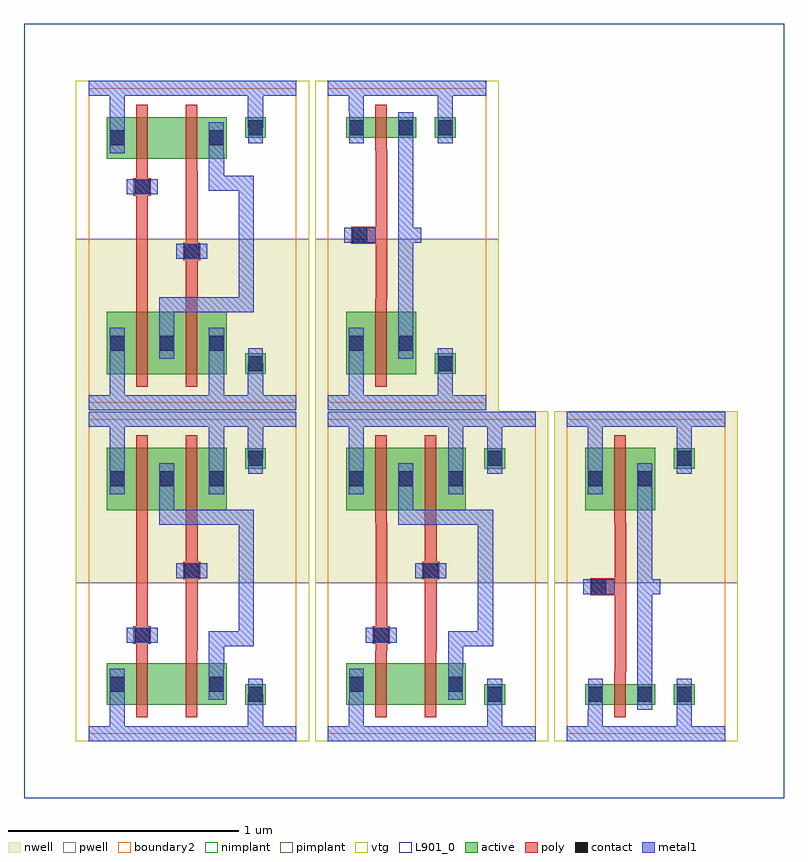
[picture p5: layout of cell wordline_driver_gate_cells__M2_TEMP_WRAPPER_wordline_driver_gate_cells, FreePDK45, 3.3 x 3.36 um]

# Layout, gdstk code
import gdstk
lib = gdstk.Library(unit=1e-6, precision=1e-09)
def R(c, l, rs):  # rectangles x0, y0, x1, y1
    for r in rs: c.add(gdstk.rectangle(r[:2], r[2:], *l))
active = (1, 0)
pwell = (2, 0)
nwell = (3, 0)
nimplant = (4, 0)
pimplant = (5, 0)
vtg = (6, 0)
poly = (9, 0)
contact = (10, 0)
metal1 = (11, 0)
boundary2 = (239, 0)
L901_0 = (901, 0)

wordline_driver_gate_cel = lib.new_cell('wordline_driver_gate_cells__wordline_driver_gate_cells__sram_1rw_32x16_freepdk45_contact_11')
R(wordline_driver_gate_cel, active, [(0,0.022,0.09,0.112)])
R(wordline_driver_gate_cel, nwell, [(-0.055,-0.033,0.145,0.168)])
R(wordline_driver_gate_cel, pimplant, [(0,0.022,0.09,0.112)])
R(wordline_driver_gate_cel, contact, [(0.013,0.035,0.077,0.1)])
R(wordline_driver_gate_cel, metal1, [(0.013,0,0.077,0.135)])
R(wordline_driver_gate_cel, boundary2, [(-0.055,-0.033,0.145,0.168)])

c_wordline_driver_gate_cel = lib.new_cell('wordline_driver_gate_cells__wordline_driver_gate_cells__sram_1rw_32x16_freepdk45_pmos_m1_w0_270_sm1_dm1')
R(c_wordline_driver_gate_cel, active, [(0,0,0.305,0.27)])
R(c_wordline_driver_gate_cel, nwell, [(-0.08,-0.08,0.385,0.35)])
R(c_wordline_driver_gate_cel, pimplant, [(0,0,0.305,0.27)])
R(c_wordline_driver_gate_cel, vtg, [(-0.08,-0.08,0.385,0.35)])
R(c_wordline_driver_gate_cel, poly, [(0.127,-0.055,0.177,0.325), (0.127,-0.055,0.177,0.325)])
R(c_wordline_driver_gate_cel, metal1, [(0.013,0.068,0.077,0.203), (0.227,0.068,0.292,0.203)])
R(c_wordline_driver_gate_cel, boundary2, [(-0.08,-0.08,0.385,0.35)])
c_wordline_driver_gate_cel.add(gdstk.Reference(wordline_driver_gate_cel, (0,0.068)))
c_wordline_driver_gate_cel.add(gdstk.Reference(wordline_driver_gate_cel, (0.215,0.068)))
c_wordline_driver_gate_cel.add(gdstk.Label('G', (0.152,0.135), layer=9, texttype=0))
c_wordline_driver_gate_cel.add(gdstk.Label('S', (0.045,0.135), layer=11, texttype=0))
c_wordline_driver_gate_cel.add(gdstk.Label('D', (0.26,0.135), layer=11, texttype=0))

c_wordline_driver_gate_cel_ = lib.new_cell('wordline_driver_gate_cells__wordline_driver_gate_cells__sram_1rw_32x16_freepdk45_contact_10')
R(c_wordline_driver_gate_cel_, active, [(0,0.022,0.09,0.112)])
R(c_wordline_driver_gate_cel_, pwell, [(-0.055,-0.033,0.145,0.168)])
R(c_wordline_driver_gate_cel_, nimplant, [(0,0.022,0.09,0.112)])
R(c_wordline_driver_gate_cel_, contact, [(0.013,0.035,0.077,0.1)])
R(c_wordline_driver_gate_cel_, metal1, [(0.013,0,0.077,0.135)])
R(c_wordline_driver_gate_cel_, boundary2, [(-0.055,-0.033,0.145,0.168)])

c_wordline_driver_gate_cel__ = lib.new_cell('wordline_driver_gate_cells__wordline_driver_gate_cells__sram_1rw_32x16_freepdk45_nmos_m1_w0_180_sm1_dactive')
R(c_wordline_driver_gate_cel__, active, [(0,0,0.305,0.18), (0.215,0.045,0.305,0.135)])
R(c_wordline_driver_gate_cel__, pwell, [(-0.08,-0.08,0.385,0.26)])
R(c_wordline_driver_gate_cel__, nimplant, [(0,0,0.305,0.18)])
R(c_wordline_driver_gate_cel__, vtg, [(-0.08,-0.08,0.385,0.26)])
R(c_wordline_driver_gate_cel__, poly, [(0.127,-0.055,0.177,0.235), (0.127,-0.055,0.177,0.235)])
R(c_wordline_driver_gate_cel__, metal1, [(0.013,0.022,0.077,0.157)])
R(c_wordline_driver_gate_cel__, boundary2, [(-0.08,-0.08,0.385,0.26)])
c_wordline_driver_gate_cel__.add(gdstk.Reference(c_wordline_driver_gate_cel_, (0,0.022)))
c_wordline_driver_gate_cel__.add(gdstk.Label('G', (0.152,0.09), layer=9, texttype=0))
c_wordline_driver_gate_cel__.add(gdstk.Label('S', (0.045,0.09), layer=11, texttype=0))
c_wordline_driver_gate_cel__.add(gdstk.Label('D', (0.26,0.09), layer=1, texttype=0))

c_wordline_driver_gate_cel___ = lib.new_cell('wordline_driver_gate_cells__wordline_driver_gate_cells__sram_1rw_32x16_freepdk45_nmos_m1_w0_180_sactive_dm1')
R(c_wordline_driver_gate_cel___, active, [(0,0,0.305,0.18), (0,0.045,0.09,0.135)])
R(c_wordline_driver_gate_cel___, pwell, [(-0.08,-0.08,0.385,0.26)])
R(c_wordline_driver_gate_cel___, nimplant, [(0,0,0.305,0.18)])
R(c_wordline_driver_gate_cel___, vtg, [(-0.08,-0.08,0.385,0.26)])
R(c_wordline_driver_gate_cel___, poly, [(0.127,-0.055,0.177,0.235), (0.127,-0.055,0.177,0.235)])
R(c_wordline_driver_gate_cel___, metal1, [(0.227,0.022,0.292,0.157)])
R(c_wordline_driver_gate_cel___, boundary2, [(-0.08,-0.08,0.385,0.26)])
c_wordline_driver_gate_cel___.add(gdstk.Reference(c_wordline_driver_gate_cel_, (0.215,0.022)))
c_wordline_driver_gate_cel___.add(gdstk.Label('G', (0.152,0.09), layer=9, texttype=0))
c_wordline_driver_gate_cel___.add(gdstk.Label('S', (0.045,0.09), layer=1, texttype=0))
c_wordline_driver_gate_cel___.add(gdstk.Label('D', (0.26,0.09), layer=11, texttype=0))

c_wordline_driver_gate_cel____ = lib.new_cell('wordline_driver_gate_cells__wordline_driver_gate_cells__sram_1rw_32x16_freepdk45_contact_12')
R(c_wordline_driver_gate_cel____, active, [(0,0.022,0.09,0.112)])
R(c_wordline_driver_gate_cel____, nwell, [(-0.055,-0.033,0.145,0.168)])
R(c_wordline_driver_gate_cel____, nimplant, [(0,0.022,0.09,0.112)])
R(c_wordline_driver_gate_cel____, contact, [(0.013,0.035,0.077,0.1)])
R(c_wordline_driver_gate_cel____, metal1, [(0.013,0,0.077,0.135)])
R(c_wordline_driver_gate_cel____, boundary2, [(-0.055,-0.033,0.145,0.168)])

c_wordline_driver_gate_cel_____ = lib.new_cell('wordline_driver_gate_cells__wordline_driver_gate_cells__sram_1rw_32x16_freepdk45_contact_13')
R(c_wordline_driver_gate_cel_____, active, [(0,0.022,0.09,0.112)])
R(c_wordline_driver_gate_cel_____, pwell, [(-0.055,-0.033,0.145,0.168)])
R(c_wordline_driver_gate_cel_____, pimplant, [(0,0.022,0.09,0.112)])
R(c_wordline_driver_gate_cel_____, contact, [(0.013,0.035,0.077,0.1)])
R(c_wordline_driver_gate_cel_____, metal1, [(0.013,0,0.077,0.135)])
R(c_wordline_driver_gate_cel_____, boundary2, [(-0.055,-0.033,0.145,0.168)])

c_wordline_driver_gate_cel______ = lib.new_cell('wordline_driver_gate_cells__wordline_driver_gate_cells__sram_1rw_32x16_freepdk45_contact_14')
R(c_wordline_driver_gate_cel______, poly, [(0.03,0,0.105,0.075)])
R(c_wordline_driver_gate_cel______, contact, [(0.035,0.005,0.1,0.07)])
R(c_wordline_driver_gate_cel______, metal1, [(0,0.005,0.135,0.07)])
R(c_wordline_driver_gate_cel______, boundary2, [(0,0,0.135,0.075)])

c_wordline_driver_gate_cel_______ = lib.new_cell('wordline_driver_gate_cells__wordline_driver_gate_cells__gen_nand2')
R(c_wordline_driver_gate_cel_______, pwell, [(-0.055,-0.033,0.957,0.655)])
R(c_wordline_driver_gate_cel_______, nwell, [(-0.055,0.655,0.957,1.4)])
R(c_wordline_driver_gate_cel_______, vtg, [(-0.055,-0.033,0.957,0.655), (-0.055,0.655,0.957,1.4)])
R(c_wordline_driver_gate_cel_______, poly, [(0.208,0.36,0.258,0.915), (0.422,0.36,0.473,0.915), (0.208,0.39,0.232,0.465), (0.422,0.67,0.447,0.745)])
R(c_wordline_driver_gate_cel_______, metal1, [(0,-0.033,0.902,0.033), (0.092,-0.033,0.157,0.147), (0.692,0,0.758,0.17), (0.522,0.283,0.588,0.413), (0.522,0.38,0.588,0.445), (0.555,0.38,0.685,0.445), (0.652,0.38,0.718,0.445), (0.165,0.395,0.3,0.46), (0.652,0.413,0.718,0.94), (0.38,0.675,0.515,0.74), (0.307,0.907,0.372,0.972), (0.34,0.907,0.685,0.972), (0.652,0.907,0.718,0.972), (0.307,0.94,0.372,1.038), (0.092,1.038,0.157,1.397), (0.522,1.038,0.588,1.397), (0.692,1.195,0.758,1.365), (0,1.332,0.902,1.397)])
R(c_wordline_driver_gate_cel_______, boundary2, [(0,0,0.902,1.365), (0,0,0.902,1.365)])
c_wordline_driver_gate_cel_______.add(gdstk.Reference(c_wordline_driver_gate_cel, (0.08,0.97)))
c_wordline_driver_gate_cel_______.add(gdstk.Reference(c_wordline_driver_gate_cel, (0.295,0.97)))
c_wordline_driver_gate_cel_______.add(gdstk.Reference(c_wordline_driver_gate_cel__, (0.08,0.125)))
c_wordline_driver_gate_cel_______.add(gdstk.Reference(c_wordline_driver_gate_cel___, (0.295,0.125)))
c_wordline_driver_gate_cel_______.add(gdstk.Reference(c_wordline_driver_gate_cel____, (0.68,1.127)))
c_wordline_driver_gate_cel_______.add(gdstk.Reference(c_wordline_driver_gate_cel_____, (0.68,0.103)))
c_wordline_driver_gate_cel_______.add(gdstk.Reference(c_wordline_driver_gate_cel______, (0.165,0.39)))
c_wordline_driver_gate_cel_______.add(gdstk.Reference(c_wordline_driver_gate_cel______, (0.38,0.67)))
c_wordline_driver_gate_cel_______.add(gdstk.Label('Z', (0.685,0.94), layer=11, texttype=0))
c_wordline_driver_gate_cel_______.add(gdstk.Label('gnd', (0.45,0), layer=11, texttype=0))
c_wordline_driver_gate_cel_______.add(gdstk.Label('vdd', (0.45,1.365), layer=11, texttype=0))
c_wordline_driver_gate_cel_______.add(gdstk.Label('A', (0.232,0.427), layer=11, texttype=0))
c_wordline_driver_gate_cel_______.add(gdstk.Label('B', (0.447,0.707), layer=11, texttype=0))

c_wordline_driver_gate_cel________ = lib.new_cell('wordline_driver_gate_cells__wordline_driver_gate_cells__sram_1rw_32x16_freepdk45_contact_11__gen_delay_inv')
R(c_wordline_driver_gate_cel________, active, [(0,0.022,0.09,0.112)])
R(c_wordline_driver_gate_cel________, nwell, [(-0.055,-0.033,0.145,0.168)])
R(c_wordline_driver_gate_cel________, pimplant, [(0,0.022,0.09,0.112)])
R(c_wordline_driver_gate_cel________, contact, [(0.013,0.035,0.077,0.1)])
R(c_wordline_driver_gate_cel________, metal1, [(0.013,0,0.077,0.135)])
R(c_wordline_driver_gate_cel________, boundary2, [(-0.055,-0.033,0.145,0.168)])

c_wordline_driver_gate_cel_________ = lib.new_cell('wordline_driver_gate_cells__wordline_driver_gate_cells__sram_1rw_32x16_freepdk45_pmos_m1_w0_270_sm1_dm1_da_p')
R(c_wordline_driver_gate_cel_________, active, [(0,0,0.305,0.27)])
R(c_wordline_driver_gate_cel_________, nwell, [(-0.08,-0.08,0.385,0.35)])
R(c_wordline_driver_gate_cel_________, pimplant, [(0,0,0.305,0.27)])
R(c_wordline_driver_gate_cel_________, vtg, [(-0.08,-0.08,0.385,0.35)])
R(c_wordline_driver_gate_cel_________, poly, [(0.127,-0.055,0.177,0.325), (0.127,-0.055,0.177,0.325)])
R(c_wordline_driver_gate_cel_________, metal1, [(0.013,0.068,0.077,0.203), (0.227,0.068,0.292,0.203)])
R(c_wordline_driver_gate_cel_________, boundary2, [(-0.08,-0.08,0.385,0.35)])
c_wordline_driver_gate_cel_________.add(gdstk.Reference(c_wordline_driver_gate_cel________, (0,0.068)))
c_wordline_driver_gate_cel_________.add(gdstk.Reference(c_wordline_driver_gate_cel________, (0.215,0.068)))
c_wordline_driver_gate_cel_________.add(gdstk.Label('G', (0.152,0.135), layer=9, texttype=0))
c_wordline_driver_gate_cel_________.add(gdstk.Label('S', (0.045,0.135), layer=11, texttype=0))
c_wordline_driver_gate_cel_________.add(gdstk.Label('D', (0.26,0.135), layer=11, texttype=0))

c_wordline_driver_gate_cel__________ = lib.new_cell('wordline_driver_gate_cells__wordline_driver_gate_cells__sram_1rw_32x16_freepdk45_contact_10__gen_delay_inv')
R(c_wordline_driver_gate_cel__________, active, [(0,0.022,0.09,0.112)])
R(c_wordline_driver_gate_cel__________, pwell, [(-0.055,-0.033,0.145,0.168)])
R(c_wordline_driver_gate_cel__________, nimplant, [(0,0.022,0.09,0.112)])
R(c_wordline_driver_gate_cel__________, contact, [(0.013,0.035,0.077,0.1)])
R(c_wordline_driver_gate_cel__________, metal1, [(0.013,0,0.077,0.135)])
R(c_wordline_driver_gate_cel__________, boundary2, [(-0.055,-0.033,0.145,0.168)])

c_wordline_driver_gate_cel___________ = lib.new_cell('wordline_driver_gate_cells__wordline_driver_gate_cells__sram_1rw_32x16_freepdk45_nmos_m1_w0_090_sm1_dm1_da_p')
R(c_wordline_driver_gate_cel___________, active, [(0,0,0.305,0.09)])
R(c_wordline_driver_gate_cel___________, pwell, [(-0.08,-0.08,0.385,0.17)])
R(c_wordline_driver_gate_cel___________, nimplant, [(0,0,0.305,0.09)])
R(c_wordline_driver_gate_cel___________, vtg, [(-0.08,-0.08,0.385,0.17)])
R(c_wordline_driver_gate_cel___________, poly, [(0.127,-0.055,0.177,0.145), (0.127,-0.055,0.177,0.145)])
R(c_wordline_driver_gate_cel___________, metal1, [(0.013,-0.022,0.077,0.112), (0.227,-0.022,0.292,0.112)])
R(c_wordline_driver_gate_cel___________, boundary2, [(-0.08,-0.08,0.385,0.17)])
c_wordline_driver_gate_cel___________.add(gdstk.Reference(c_wordline_driver_gate_cel__________, (0,-0.022)))
c_wordline_driver_gate_cel___________.add(gdstk.Reference(c_wordline_driver_gate_cel__________, (0.215,-0.022)))
c_wordline_driver_gate_cel___________.add(gdstk.Label('G', (0.152,0.045), layer=9, texttype=0))
c_wordline_driver_gate_cel___________.add(gdstk.Label('S', (0.045,0.045), layer=11, texttype=0))
c_wordline_driver_gate_cel___________.add(gdstk.Label('D', (0.26,0.045), layer=11, texttype=0))

c_wordline_driver_gate_cel____________ = lib.new_cell('wordline_driver_gate_cells__wordline_driver_gate_cells__gen_inv')
R(c_wordline_driver_gate_cel____________, pwell, [(-0.055,-0.033,0.743,0.655)])
R(c_wordline_driver_gate_cel____________, nwell, [(-0.055,0.655,0.743,1.4)])
R(c_wordline_driver_gate_cel____________, vtg, [(-0.055,-0.033,0.743,0.655), (-0.055,0.655,0.743,1.4)])
R(c_wordline_driver_gate_cel____________, poly, [(0.208,0.27,0.258,0.915), (0.14,0.6,0.208,0.675)])
R(c_wordline_driver_gate_cel____________, metal1, [(0,-0.033,0.687,0.033), (0.092,-0.033,0.157,0.103), (0.478,0,0.542,0.17), (0.307,0.103,0.372,1.173), (0.072,0.605,0.208,0.67), (0.34,0.605,0.405,0.67), (0.092,1.038,0.157,1.397), (0.478,1.195,0.542,1.365), (0,1.332,0.687,1.397)])
R(c_wordline_driver_gate_cel____________, boundary2, [(0,0,0.687,1.365), (0,0,0.687,1.365)])
c_wordline_driver_gate_cel____________.add(gdstk.Reference(c_wordline_driver_gate_cel_________, (0.08,0.97)))
c_wordline_driver_gate_cel____________.add(gdstk.Reference(c_wordline_driver_gate_cel___________, (0.08,0.125)))
c_wordline_driver_gate_cel____________.add(gdstk.Reference(c_wordline_driver_gate_cel____, (0.465,1.127)))
c_wordline_driver_gate_cel____________.add(gdstk.Reference(c_wordline_driver_gate_cel_____, (0.465,0.103)))
c_wordline_driver_gate_cel____________.add(gdstk.Reference(c_wordline_driver_gate_cel______, (0.072,0.6)))
c_wordline_driver_gate_cel____________.add(gdstk.Label('A', (0.14,0.638), layer=11, texttype=0))
c_wordline_driver_gate_cel____________.add(gdstk.Label('Z', (0.372,0.638), layer=11, texttype=0))
c_wordline_driver_gate_cel____________.add(gdstk.Label('gnd', (0.345,0), layer=11, texttype=0))
c_wordline_driver_gate_cel____________.add(gdstk.Label('vdd', (0.345,1.365), layer=11, texttype=0))

c_wordline_driver_gate_cel_____________ = lib.new_cell('wordline_driver_gate_cells__wordline_driver_gate_cells__wordline_driver_gate_cells')
c_wordline_driver_gate_cel_____________.add(gdstk.Reference(c_wordline_driver_gate_cel_______, (0.08,0.08)))
c_wordline_driver_gate_cel_____________.add(gdstk.Reference(c_wordline_driver_gate_cel_______, (1.118,0.08)))
c_wordline_driver_gate_cel_____________.add(gdstk.Reference(c_wordline_driver_gate_cel____________, (2.155,0.08)))
c_wordline_driver_gate_cel_____________.add(gdstk.Reference(c_wordline_driver_gate_cel_______, (0.08,2.88), x_reflection=True))
c_wordline_driver_gate_cel_____________.add(gdstk.Reference(c_wordline_driver_gate_cel____________, (1.118,2.88), x_reflection=True))

c_wordline_driver_gate_cel______________ = lib.new_cell('wordline_driver_gate_cells__M2_TEMP_WRAPPER_wordline_driver_gate_cells')
R(c_wordline_driver_gate_cel______________, L901_0, [(-0.2,-0.2,3.098,3.16)])
c_wordline_driver_gate_cel______________.add(gdstk.Reference(c_wordline_driver_gate_cel_____________, (0,0)))
c_wordline_driver_gate_cel______________.add(gdstk.Label('TEMP_WRAPPER_FOR_M2_REVIEW', (0,3.46), layer=900, texttype=0))
c_wordline_driver_gate_cel______________.add(gdstk.Label('wordline_driver_gate_cells candidate composite', (0,4.06), layer=900, texttype=0))

lib.write_gds('wordline_driver_gate_cells__M2_TEMP_WRAPPER_wordline_driver_gate_cells.gds')
